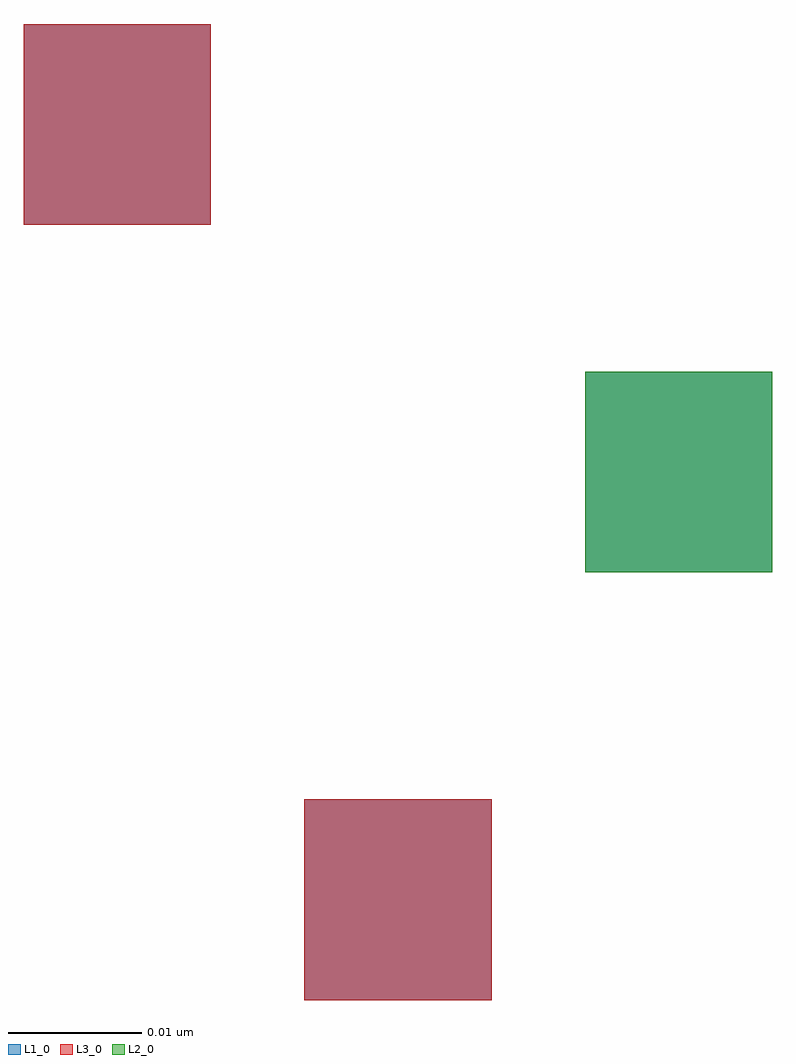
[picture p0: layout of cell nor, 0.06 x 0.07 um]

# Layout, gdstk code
import gdstk
lib = gdstk.Library(unit=1e-6, precision=5e-10)
def R(c, l, rs):  # rectangles x0, y0, x1, y1
    for r in rs: c.add(gdstk.rectangle(r[:2], r[2:], *l))
L1_0 = (1, 0)
L2_0 = (2, 0)
L3_0 = (3, 0)

nor = lib.new_cell('nor')
R(nor, L1_0, [(0.2265,0.04,0.2405,0.055), (0.2475,0.072,0.2615,0.087), (0.2055,0.098,0.2195,0.113)])
R(nor, L2_0, [(0.2475,0.072,0.2615,0.087)])
R(nor, L3_0, [(0.2265,0.04,0.2405,0.055), (0.2055,0.098,0.2195,0.113)])

lib.write_gds('nor.gds')
